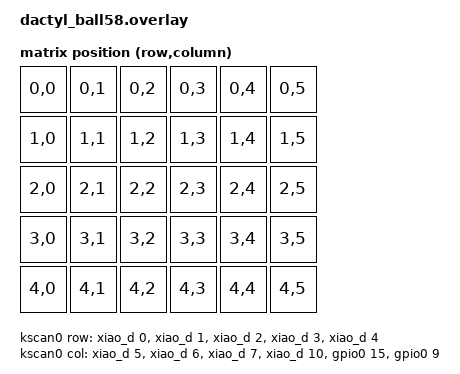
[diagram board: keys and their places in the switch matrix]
#include <dt-bindings/zmk/matrix_transform.h>
#include <zephyr/dt-bindings/input/input-event-codes.h>

/ {
    chosen {
        zmk,kscan = &kscan0;
        zmk,matrix_transform = &default_transform;
    };

    default_transform: keymap_transform0 {
        compatible = "zmk,matrix-transform";
        columns = <6>;
        rows = <5>;
        map = <
            RC(0,0) RC(0,1) RC(0,2) RC(0,3) RC(0,4) RC(0,5)
            RC(1,0) RC(1,1) RC(1,2) RC(1,3) RC(1,4) RC(1,5)
            RC(2,0) RC(2,1) RC(2,2) RC(2,3) RC(2,4) RC(2,5)
            RC(3,0) RC(3,1) RC(3,2) RC(3,3) RC(3,4) RC(3,5)
            RC(4,0) RC(4,1) RC(4,2) RC(4,3) RC(4,4) RC(4,5)
        >;
    };

    kscan0: kscan {
        compatible = "zmk,kscan-gpio-matrix";
        diode-direction = "col2row";

        row-gpios
            = <&xiao_d 0 (GPIO_ACTIVE_HIGH | GPIO_PULL_DOWN)>
            , <&xiao_d 1 (GPIO_ACTIVE_HIGH | GPIO_PULL_DOWN)>
            , <&xiao_d 2 (GPIO_ACTIVE_HIGH | GPIO_PULL_DOWN)>
            , <&xiao_d 3 (GPIO_ACTIVE_HIGH | GPIO_PULL_DOWN)>
            , <&xiao_d 4 (GPIO_ACTIVE_HIGH | GPIO_PULL_DOWN)>
            ;

        col-gpios
            = <&xiao_d 5  GPIO_ACTIVE_HIGH>
            , <&xiao_d 6  GPIO_ACTIVE_HIGH>
            , <&xiao_d 7  GPIO_ACTIVE_HIGH>
            , <&xiao_d 10 GPIO_ACTIVE_HIGH>
            , <&gpio0 15 GPIO_ACTIVE_HIGH>
            , <&gpio0 9  GPIO_ACTIVE_HIGH>
            ;
    };
};

&pinctrl {
    spi0_default: spi0_default {
        group1 {
            psels = <NRF_PSEL(SPIM_SCK, 1, 13)>,
                    <NRF_PSEL(SPIM_MOSI, 1, 14)>;
        };
    };

    spi0_sleep: spi0_sleep {
        group1 {
            psels = <NRF_PSEL(SPIM_SCK, 1, 13)>,
                    <NRF_PSEL(SPIM_MOSI, 1, 14)>;
            low-power-enable;
        };
    };
};

&spi0 {
    status = "okay";
    compatible = "nordic,nrf-spim";
    pinctrl-0 = <&spi0_default>;
    pinctrl-1 = <&spi0_sleep>;
    pinctrl-names = "default", "sleep";
    cs-gpios = <&gpio0 19 GPIO_ACTIVE_LOW>;

    trackball: trackball@0 {
        compatible = "pixart,pmw3610-alt";
        reg = <0>;
        spi-max-frequency = <2000000>;
        irq-gpios = <&gpio1 1 (GPIO_ACTIVE_LOW | GPIO_PULL_UP)>;

        evt-type = <INPUT_EV_REL>;
        x-input-code = <INPUT_REL_X>;
        y-input-code = <INPUT_REL_Y>;
    };
};
